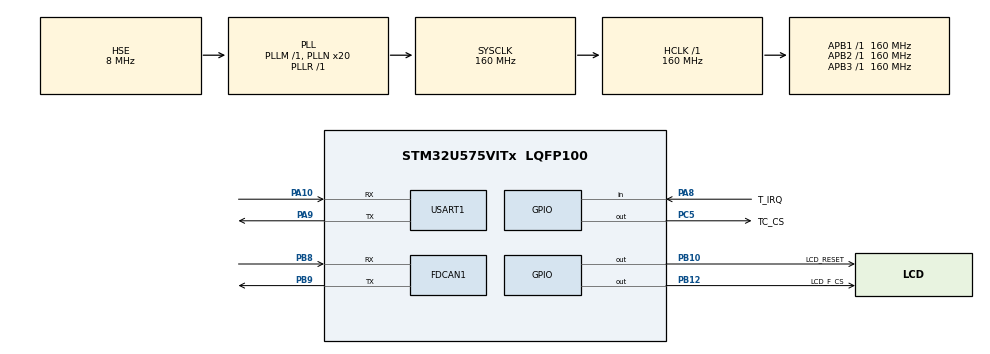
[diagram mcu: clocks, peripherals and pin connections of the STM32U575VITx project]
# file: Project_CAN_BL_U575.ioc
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CORTEX_M33_NS.userName=CORTEX_M33
CRC.InputDataFormat=CRC_INPUTDATA_FORMAT_WORDS
FDCAN1.CalculateBaudRateNominal=125000
FDCAN1.CalculateTimeBitNominal=8000
FDCAN1.CalculateTimeQuantumNominal=400.0
FDCAN1.AutoRetransmission=ENABLE
FDCAN1.NominalPrescaler=64
FDCAN1.NominalSyncJumpWidth=3
FDCAN1.NominalTimeSeg1=16
FDCAN1.NominalTimeSeg2=3
IWDG.Prescaler=IWDG_PRESCALER_16
Mcu.Family=STM32U5
Mcu.Name=STM32U575VITx
Mcu.Package=LQFP100
NVIC.FDCAN1_IT0_IRQn=true\:0\:0\:false\:false\:true\:true\:true\:true
NVIC.PriorityGroup=NVIC_PRIORITYGROUP_4
NVIC.USART1_IRQn=true\:0\:0\:false\:false\:true\:true\:true\:true
PA10.GPIO_PuPd=GPIO_PULLUP
PA10.Mode=Asynchronous
PA10.Signal=USART1_RX
PA13\ (JTMS/SWDIO).Mode=Serial_Wire
PA13\ (JTMS/SWDIO).Signal=DEBUG_JTMS-SWDIO
PA14\ (JTCK/SWCLK).Mode=Serial_Wire
PA14\ (JTCK/SWCLK).Signal=DEBUG_JTCK-SWCLK
PA5.Signal=SPI1_SCK
PA8.GPIO_Label=T_IRQ
PA8.Signal=GPIO_Input
PA9.Mode=Asynchronous
PA9.Signal=USART1_TX
PB8.Mode=FDCAN_Activate
PB8.Signal=FDCAN1_RX
PB9.Mode=FDCAN_Activate
PB9.Signal=FDCAN1_TX
PB10.GPIO_Label=LCD_RESET
PB10.PinState=GPIO_PIN_SET
PB10.Signal=GPIO_Output
PB12.GPIO_Label=LCD_F_CS
PB12.PinState=GPIO_PIN_SET
PB12.Signal=GPIO_Output
PC14-OSC32_IN\ (PC14).Mode=LSE-External-Oscillator
PC14-OSC32_IN\ (PC14).Signal=RCC_OSC32_IN
PC15-OSC32_OUT\ (PC15).Mode=LSE-External-Oscillator
PC15-OSC32_OUT\ (PC15).Signal=RCC_OSC32_OUT
PC5.GPIO_Label=TC_CS
PC5.PinState=GPIO_PIN_SET
PC5.Signal=GPIO_Output
PH0-OSC_IN\ (PH0).Mode=HSE-External-Oscillator
PH0-OSC_IN\ (PH0).Signal=RCC_OSC_IN
PH1-OSC_OUT\ (PH1).Mode=HSE-External-Oscillator
PH1-OSC_OUT\ (PH1).Signal=RCC_OSC_OUT
ProjectManager.HeapSize=0x200
ProjectManager.StackSize=0x2400
ProjectManager.TargetToolchain=STM32CubeIDE
RCC.ADCFreq_Value=16000000
RCC.AHBFreq_Value=160000000
RCC.APB1Freq_Value=160000000
RCC.APB1TimFreq_Value=160000000
RCC.APB2Freq_Value=160000000
RCC.APB2TimFreq_Value=160000000
RCC.APB3Freq_Value=160000000
RCC.CortexFreq_Value=160000000
RCC.EPOD_VALUE=8000000
RCC.HCLKFreq_Value=160000000
RCC.HSE_VALUE=8000000
RCC.HSI48_VALUE=48000000
RCC.HSI_VALUE=16000000
RCC.LSIDIV_VALUE=32000
RCC.MSIClockRange=RCC_MSIRANGE_0
RCC.MSI_VALUE=48000000
RCC.PLL1Q=1
RCC.PLL1R=1
RCC.PLL2FRACN=0
RCC.PLL3FRACN=0
RCC.PLLFRACN=0
RCC.PLLN=20
RCC.PLLSourceVirtual=RCC_PLLSOURCE_HSE
RCC.RTCClockSelection=RCC_RTCCLKSOURCE_LSE
RCC.SYSCLKFreq_VALUE=160000000
RCC.SYSCLKSource=RCC_SYSCLKSOURCE_PLLCLK
RCC.USBFreq_Value=48000000
RCC.VCOOutputFreq_Value=160000000
STMicroelectronics.X-CUBE-TOUCHGFX.4.26.1.tgfx_block_size=4096
STMicroelectronics.X-CUBE-TOUCHGFX.4.26.1.tgfx_buffering_strategy=Partial
STMicroelectronics.X-CUBE-TOUCHGFX.4.26.1.tgfx_custom_height=480
STMicroelectronics.X-CUBE-TOUCHGFX.4.26.1.tgfx_custom_width=800
STMicroelectronics.X-CUBE-TOUCHGFX.4.26.1.tgfx_display_interface=disp_fmc
STMicroelectronics.X-CUBE-TOUCHGFX.4.26.1_IsPackSelfContextualization=true
USART1.VirtualMode-Asynchronous=VM_ASYNC
VP_CRC_VS_CRC.Mode=CRC_Activate
VP_ICACHE_VS_ENABLE_ICACHE_MEMORY.Mode=Memoryregions
VP_ICACHE_VS_ICACHE.Mode=DefaultMode
VP_IWDG_VS_IWDG.Mode=IWDG_Activate
VP_LPBAMQUEUE_VS_QUEUE.Mode=QUEUEMODE
VP_LPBAM_VS_SIG1.Mode=SmartRun
VP_LPBAM_VS_SIG4.Mode=LPDMA1
VP_MEMORYMAP_VS_MEMORYMAP.Mode=CurAppReg
VP_PWR_VS_SECSignals.Mode=Security/Privilege
VP_RTC_VS_RTC_Activate.Mode=RTC_Enabled
board=custom

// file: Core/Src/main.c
/* USER CODE BEGIN Header */
/**
 ******************************************************************************
 * @file           : main.c
 * @brief          : Main program body
 ******************************************************************************
 ** This notice applies to any and all portions of this file
 * that are not between comment pairs USER CODE BEGIN and
 * USER CODE END. Other portions of this file, whether
 * inserted by the user or by software development tools
 * are owned by their respective copyright owners.
 *
 * COPYRIGHT(c) 2019 STMicroelectronics
 *
 * Redistribution and use in source and binary forms, with or without modification,
 * are permitted provided that the following conditions are met:
 *   1. Redistributions of source code must retain the above copyright notice,
 *      this list of conditions and the following disclaimer.
 *   2. Redistributions in binary form must reproduce the above copyright notice,
 *      this list of conditions and the following disclaimer in the documentation
 *      and/or other materials provided with the distribution.
 *   3. Neither the name of STMicroelectronics nor the names of its contributors
 *      may be used to endorse or promote products derived from this software
 *      without specific prior written permission.
 *
 * THIS SOFTWARE IS PROVIDED BY THE COPYRIGHT HOLDERS AND CONTRIBUTORS "AS IS"
 * AND ANY EXPRESS OR IMPLIED WARRANTIES, INCLUDING, BUT NOT LIMITED TO, THE
 * IMPLIED WARRANTIES OF MERCHANTABILITY AND FITNESS FOR A PARTICULAR PURPOSE ARE
 * DISCLAIMED. IN NO EVENT SHALL THE COPYRIGHT HOLDER OR CONTRIBUTORS BE LIABLE
 * FOR ANY DIRECT, INDIRECT, INCIDENTAL, SPECIAL, EXEMPLARY, OR CONSEQUENTIAL
 * DAMAGES (INCLUDING, BUT NOT LIMITED TO, PROCUREMENT OF SUBSTITUTE GOODS OR
 * SERVICES; LOSS OF USE, DATA, OR PROFITS; OR BUSINESS INTERRUPTION) HOWEVER
 * CAUSED AND ON ANY THEORY OF LIABILITY, WHETHER IN CONTRACT, STRICT LIABILITY,
 * OR TORT (INCLUDING NEGLIGENCE OR OTHERWISE) ARISING IN ANY WAY OUT OF THE USE
 * OF THIS SOFTWARE, EVEN IF ADVISED OF THE POSSIBILITY OF SUCH DAMAGE.
 *
 ******************************************************************************
 */
/* USER CODE END Header */
#include "main.h"
#include "crc.h"
#include "fdcan.h"
#include "icache.h"
#include "iwdg.h"
#include "rtc.h"
#include "usart.h"
#include "gpio.h"

/* USER CODE BEGIN Includes */
#include "ms_timers.h"
#include "shell.h"

#include "crc.h"
#include "uart_sci.h"
#include "utilities.h"
#include "user_flash.h"
#include "can_functions.h"

/* USER CODE END Includes */

/* USER CODE BEGIN PV */
/*

 DESCRIPTION:

 REMARKS:

 arm-none-eabi-objcopy -O binary "${BuildArtifactFileBaseName}.elf" "${BuildArtifactFileBaseName}.bin" && arm-none-eabi-size "${BuildArtifactFileName}";${ProjDirPath}/writeCRC.exe "${BuildArtifactFileBaseName}.bin"

 - section MYSEC
 - .data:  *(.RamFunc)
 - Optimize more (-O2)

 NOTES
 CPU freq 			160Mhz
 Uart1 COM port		115K
 IWDT 40khz/4095/16 4.096 sec

 TOOLS
 - CubeMX 6.17.0
 - CubeIDE 2.2.0

 PRINCIPE
 0x08000000 Bootloader 32K
 0x08008000 Application 55kb
 0x08010000 Shadow flash 55kb

 VERSION OVERVIEW:
 0.01
 - eerste versie

 */
uint8_t toggle_tmr = NO_TIMER;
uint8_t autostart_tmr = NO_TIMER;

/* Private variables ---------------------------------------------------------*/

/* USER CODE END PV */

void SystemClock_Config(void);
/* USER CODE BEGIN PFP */
/* Private function prototypes -----------------------------------------------*/

/* USER CODE END PFP */

/* USER CODE BEGIN 0 */

/*!< Info structure for bootloader */
volatile const app_info_t __attribute__((section (".mySection"))) c_app_info =
{ .key = APP_KEY,				// Key
		.version = VERSION,		// Version
		.crc32 = 0xFFFFFFFF,		// CCITT-CRC32
		.size = 0xFFFFFFFF,		// File size
		.build_date = __DATE__,	// Build date
		.build_time = __TIME__,	// Build time
		.dummy =
		{ 0xFF, 0xFF, 0xFF } // Dummy[3]
};

/* USER CODE END 0 */

int main(void)
{

  /* USER CODE BEGIN 1 */

	//__disable_irq();
	app_info_t *p_app_info = (app_info_t*) FLASH_APP_START_ADDR;
//	app_info_t *p_shadow_info = (app_info_t*) FLASH_SHADOW_START_ADDR;
	uint32_t *ram_key = (uint32_t*) RAM_KEY;
	uint32_t *p_serial = (uint32_t*) RAM_SERIAL; // application fills the serial

  /* USER CODE END 1 */

  /* MCU Configuration--------------------------------------------------------*/

  /* Reset of all peripherals, Initializes the Flash interface and the Systick. */
  HAL_Init();

  /* Configure the system clock */
  SystemClock_Config();

  /* Initialize all configured peripherals */
  MX_GPIO_Init();
  MX_CRC_Init();
  MX_RTC_Init();
  MX_USART1_UART_Init();
  MX_ICACHE_Init();
  MX_FDCAN1_Init();
  MX_IWDG_Init();
  /* USER CODE BEGIN 2 */

	__enable_irq();

	// Open the byteQ
	init_sci();

	// setup the function timer
	timer_open();

	// init the Shell
	shell_open();

	FDCAN_Config();

	if (*ram_key == CAN_KEY)
	{
		HAL_Delay(100);
		can_send_msg(ID_OC_RES, 4, (uint8_t *) p_serial);
	}
	else if (*ram_key == WAIT_KEY)
	{
		tty_puts("'MT' (@) 2026 STM32U BL, Stop\r\n");
		autostart_tmr = timer_get();
		timer_start(autostart_tmr, 30000, NULL);
	}
	else if (*ram_key == CRASH_KEY)
	{
		tty_puts("'MT' (@) 2026 STM32U0 BL, Crash\r\n");
		autostart_tmr = timer_get();
		timer_start(autostart_tmr, 2500, NULL);
	}
	else if (p_app_info->key == APP_KEY)
	{
		tty_puts("'MT' (@) 2026 STM32U0 BL, Start\r\n");
		autostart_tmr = timer_get();
		timer_start(autostart_tmr, 1500, NULL);
	}
	else
		tty_puts("'MT' (@) 2026 STM32U0 BL\r\n");

	// APP need to clear this flag or else app was crashed
	*ram_key = CRASH_KEY;

	app_info_t app_info;
#if 0
	app_info_t shadow_info;
	app_info_t shadow_hdr;

	if ((n25lpxx_read((uint8_t*) &shadow_hdr, N25LPXX_SHADOW_START_ADDR, sizeof(shadow_hdr)) == FLS_SUCCESS) && (shadow_hdr.key == APP_KEY))
	{
		// Verify integrity of shadow
		if (crc_verify_n25lpxx(&shadow_info, N25LPXX_SHADOW_START_ADDR, N25LPXX_SHADOW_SIZE) == 0)
		{
			// get CRC of application
			crc_verify_flash(&app_info, FLASH_APP_START_ADDR, APP_SIZE);
			if ((shadow_info.version & 0xFF) == VERSION_KEY_JTC)
			{
				if (app_info.crc32 != shadow_info.crc32)
				{
					tty_puts("Copy Shadow to App..");
					//NVIC_DisableIRQ(USART3_4_LPUART1_IRQn); // IRQs from the main will stall copying
					HAL_Delay(10);

					if (!copy_shadow_n25lpxx(APP_SIZE))
					{
						timer_free(&autostart_tmr);
						tty_puts("Error\r\n");
					}
					else
					{
						// Delete the header
						tty_puts("Erasing shadow flash... ");
						HAL_Delay(10);
						if (n25lpxx_erase(N25LPXX_SHADOW_START_ADDR, N25LPXX_SHADOW_SIZE) == FLS_SUCCESS)
						{
							sci1_puts("OK\r\n");
							autostart_tmr = timer_get();
							timer_start(autostart_tmr, 250, NULL);
						}
						else
						sci1_puts("Error\r\n");

					}
				}
			}
			else
				tty_puts("No MCM C9 code\r\n");
		}
		else
			tty_puts("Shadow CRC error\r\n");
	}
#endif
  /* USER CODE END 2 */

  /* Infinite loop */
  /* USER CODE BEGIN WHILE */

//	app_info_t app_info;

	while (1)
	{
    /* USER CODE END WHILE */

    /* USER CODE BEGIN 3 */
		wdt_clr();

		shell_process();

		handle_can();

		if (timer_elapsed(autostart_tmr))
		{
			timer_free(&autostart_tmr);

			// Verify integrity.
			if (crc_verify_flash(&app_info, FLASH_APP_START_ADDR, APP_SIZE) == 0)
			{
				tty_puts("Jump\r\n");
				HAL_Delay(15);
				JumptoApp();
			}
			else
				tty_puts("APP CRC error\r\n");

		}
	}
  /* USER CODE END 3 */
}

void SystemClock_Config(void)
{
  RCC_OscInitTypeDef RCC_OscInitStruct = {0};
  RCC_ClkInitTypeDef RCC_ClkInitStruct = {0};

  /** Configure the main internal regulator output voltage
  */
  if (HAL_PWREx_ControlVoltageScaling(PWR_REGULATOR_VOLTAGE_SCALE1) != HAL_OK)
  {
    Error_Handler();
  }

  /** Configure LSE Drive Capability
  */
  HAL_PWR_EnableBkUpAccess();
  __HAL_RCC_LSEDRIVE_CONFIG(RCC_LSEDRIVE_LOW);

  /** Initializes the CPU, AHB and APB buses clocks
  */
  RCC_OscInitStruct.OscillatorType = RCC_OSCILLATORTYPE_LSI|RCC_OSCILLATORTYPE_HSE
                              |RCC_OSCILLATORTYPE_LSE;
  RCC_OscInitStruct.HSEState = RCC_HSE_ON;
  RCC_OscInitStruct.LSEState = RCC_LSE_ON;
  RCC_OscInitStruct.LSIState = RCC_LSI_ON;
  RCC_OscInitStruct.LSIDiv = RCC_LSI_DIV1;
  RCC_OscInitStruct.PLL.PLLState = RCC_PLL_ON;
  RCC_OscInitStruct.PLL.PLLSource = RCC_PLLSOURCE_HSE;
  RCC_OscInitStruct.PLL.PLLMBOOST = RCC_PLLMBOOST_DIV1;
  RCC_OscInitStruct.PLL.PLLM = 1;
  RCC_OscInitStruct.PLL.PLLN = 20;
  RCC_OscInitStruct.PLL.PLLP = 2;
  RCC_OscInitStruct.PLL.PLLQ = 1;
  RCC_OscInitStruct.PLL.PLLR = 1;
  RCC_OscInitStruct.PLL.PLLRGE = RCC_PLLVCIRANGE_1;
  RCC_OscInitStruct.PLL.PLLFRACN = 0;
  if (HAL_RCC_OscConfig(&RCC_OscInitStruct) != HAL_OK)
  {
    Error_Handler();
  }

  /** Initializes the CPU, AHB and APB buses clocks
  */
  RCC_ClkInitStruct.ClockType = RCC_CLOCKTYPE_HCLK|RCC_CLOCKTYPE_SYSCLK
                              |RCC_CLOCKTYPE_PCLK1|RCC_CLOCKTYPE_PCLK2
                              |RCC_CLOCKTYPE_PCLK3;
  RCC_ClkInitStruct.SYSCLKSource = RCC_SYSCLKSOURCE_PLLCLK;
  RCC_ClkInitStruct.AHBCLKDivider = RCC_SYSCLK_DIV1;
  RCC_ClkInitStruct.APB1CLKDivider = RCC_HCLK_DIV1;
  RCC_ClkInitStruct.APB2CLKDivider = RCC_HCLK_DIV1;
  RCC_ClkInitStruct.APB3CLKDivider = RCC_HCLK_DIV1;

  if (HAL_RCC_ClockConfig(&RCC_ClkInitStruct, FLASH_LATENCY_4) != HAL_OK)
  {
    Error_Handler();
  }
}

/* USER CODE BEGIN 4 */

/**
 * @brief  This function is executed in case of error occurrence.
 * @param  file: The file name as string.
 * @param  line: The line in file as a number.
 * @retval None
 */
void _Error_Handler(char *file, int line)
{
	char buf[10];

	tty_puts("FATAL error File:");
	tty_puts(file);
	tty_puts(" Line ");
	tty_puts(my_itoa(line, buf, 10));
	tty_puts("\r\n");

	while (1)
	{
	}
}

typedef void (*pFunction)(void);

/* Defined in the linker script */
extern uint32_t _main_app_start_address;

/**
 * @brief  This function is responsible for starting the main application.
 * @retval None
 */
void JumptoApp(void)
{
    uint32_t appAddress = (uint32_t)&_main_app_start_address;
    uint32_t appStack   = *(__IO uint32_t *)appAddress;
    uint32_t appEntry   = *(__IO uint32_t *)(appAddress + 4U);
    pFunction appResetHandler = (pFunction)appEntry;

    if ((appStack & 0x2FF00000U) != 0x20000000U)
        return;

    if (((appEntry & 0xFF000000U) != 0x08000000U) || ((appEntry & 1U) == 0U))
        return;

    __disable_irq();

    SysTick->CTRL = 0;
    SysTick->LOAD = 0;
    SysTick->VAL  = 0;

    for (uint32_t i = 0; i < 8U; i++)
    {
        NVIC->ICER[i] = 0xFFFFFFFFU;
        NVIC->ICPR[i] = 0xFFFFFFFFU;
    }

    HAL_DeInit();
    HAL_RCC_DeInit();
    /* Important for STM32H5 */
    HAL_ICACHE_DeInit();

    __set_CONTROL(0U);
    __set_PSP(0U);
    __set_BASEPRI(0U);
    __set_FAULTMASK(0U);

    SCB->VTOR = appAddress;

    __DSB();
    __ISB();

    __set_MSP(appStack);

    __DSB();
    __ISB();

    appResetHandler();

    while (1)
    {
    }
}

/* USER CODE END 4 */

void Error_Handler(void)
{
	while (1)
	{
	}
}
